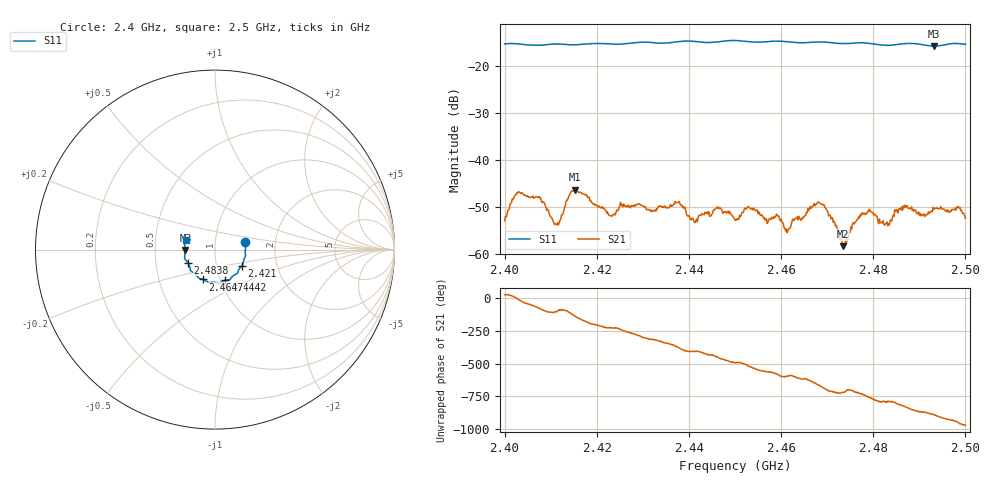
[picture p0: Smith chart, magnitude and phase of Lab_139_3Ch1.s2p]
# Hz S RI R 50
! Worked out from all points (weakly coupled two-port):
!   601 points, 2.4 GHz to 2.5 GHz, reference 50 ohm
!   highest |S21| = -46.24 dB at 2.4153 GHz (marker M1); lowest = -58.3 dB at 2.4735 GHz (marker M2)
!   lowest |S11| = -15.7 dB at 2.4932 GHz (marker M3), VSWR 1.40, Z = 35.8 - j0.122 ohm
!   |S11| at or under -10 dB: start of sweep to end of sweep
!   S12 and S22 are empty: the file has one direction only
!   S11 on the Smith chart (normalised r, x): 2.4 GHz: 1.40, +0.12; 2.421 GHz: 1.33, -0.24; 2.4442 GHz: 1.05, -0.37; 2.4647 GHz: 0.83, -0.28; 2.4838 GHz: 0.73, -0.11; 2.5 GHz: 0.71, +0.08
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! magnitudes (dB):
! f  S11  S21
! 2.4 GHz  -15.2  -52.9
! 2.4033 GHz  -15.2  -46.9
! 2.4073 GHz  -15.5  -47.9
! 2.4113 GHz  -15.2  -53.8
! 2.4153 GHz  -15.4  -46.2
! 2.4167 GHz  -15.3  -46.9
! 2.421 GHz  -15.1  -50.0
! 2.4333 GHz  -15.0  -49.9
! 2.4442 GHz  -14.9  -51.4
! 2.45 GHz  -14.5  -52.8
! 2.4532 GHz  -14.7  -50.1
! 2.4613 GHz  -14.7  -55.4
! 2.4647 GHz  -14.9  -52.4
! 2.4667 GHz  -14.8  -50.0
! 2.4693 GHz  -14.8  -49.4
! 2.4735 GHz  -15.1  -58.3
! 2.4777 GHz  -14.9  -51.3
! 2.4833 GHz  -15.5  -53.5
! 2.4838 GHz  -15.5  -52.6
! 2.487 GHz  -15.1  -50.0
! 2.4932 GHz  -15.7  -50.4
! 2.5 GHz  -15.3  -52.4
